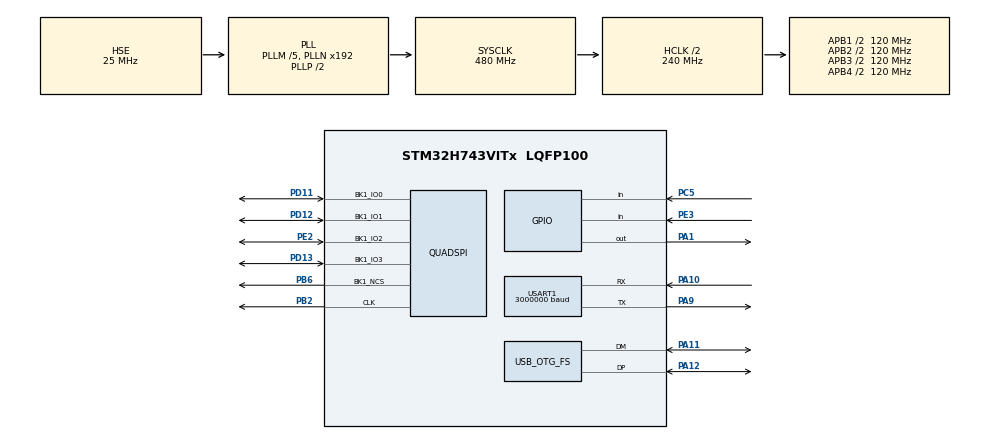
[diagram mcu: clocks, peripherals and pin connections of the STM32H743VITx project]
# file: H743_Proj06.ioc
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Mcu.Family=STM32H7
Mcu.Name=STM32H743VITx
Mcu.Package=LQFP100
NVIC.OTG_FS_IRQn=true\:0\:0\:false\:false\:true\:false\:true
NVIC.PriorityGroup=NVIC_PRIORITYGROUP_4
NVIC.TIM8_UP_TIM13_IRQn=true\:0\:0\:false\:false\:true\:false\:true
NVIC.TimeBase=TIM8_UP_TIM13_IRQn
NVIC.TimeBaseIP=TIM13
PA1.GPIO_PuPd=GPIO_PULLUP
PA1.PinState=GPIO_PIN_SET
PA1.Signal=GPIO_Output
PA10.GPIO_Speed=GPIO_SPEED_FREQ_MEDIUM
PA10.Mode=Asynchronous
PA10.Signal=USART1_RX
PA11.GPIO_Speed=GPIO_SPEED_FREQ_HIGH
PA11.Mode=Device_Only
PA11.Signal=USB_OTG_FS_DM
PA12.GPIO_Speed=GPIO_SPEED_FREQ_HIGH
PA12.Mode=Device_Only
PA12.Signal=USB_OTG_FS_DP
PA13\ (JTMS/SWDIO).Mode=Serial_Wire
PA13\ (JTMS/SWDIO).Signal=DEBUG_JTMS-SWDIO
PA14\ (JTCK/SWCLK).Mode=Serial_Wire
PA14\ (JTCK/SWCLK).Signal=DEBUG_JTCK-SWCLK
PA9.GPIO_Speed=GPIO_SPEED_FREQ_MEDIUM
PA9.Mode=Asynchronous
PA9.Signal=USART1_TX
PB2.GPIO_PuPd=GPIO_PULLDOWN
PB2.GPIO_Speed=GPIO_SPEED_FREQ_HIGH
PB2.Mode=Single Bank 1
PB2.Signal=QUADSPI_CLK
PB6.GPIO_FM6=__NULL
PB6.GPIO_PuPd=GPIO_PULLUP
PB6.GPIO_Speed=GPIO_SPEED_FREQ_HIGH
PB6.Mode=Single Bank 1
PB6.Signal=QUADSPI_BK1_NCS
PC14-OSC32_IN\ (OSC32_IN).Mode=LSE-External-Oscillator
PC14-OSC32_IN\ (OSC32_IN).Signal=RCC_OSC32_IN
PC15-OSC32_OUT\ (OSC32_OUT).Mode=LSE-External-Oscillator
PC15-OSC32_OUT\ (OSC32_OUT).Signal=RCC_OSC32_OUT
PC5.GPIO_PuPd=GPIO_PULLUP
PC5.Signal=GPIO_Input
PD11.GPIO_Speed=GPIO_SPEED_FREQ_HIGH
PD11.Mode=Single Bank 1
PD11.Signal=QUADSPI_BK1_IO0
PD12.GPIO_Speed=GPIO_SPEED_FREQ_HIGH
PD12.Mode=Single Bank 1
PD12.Signal=QUADSPI_BK1_IO1
PD13.GPIO_Speed=GPIO_SPEED_FREQ_HIGH
PD13.Mode=Single Bank 1
PD13.Signal=QUADSPI_BK1_IO3
PE2.GPIO_Speed=GPIO_SPEED_FREQ_HIGH
PE2.Mode=Single Bank 1
PE2.Signal=QUADSPI_BK1_IO2
PE3.GPIO_PuPd=GPIO_PULLUP
PE3.Signal=GPIO_Input
PH0-OSC_IN\ (PH0).Mode=HSE-External-Oscillator
PH0-OSC_IN\ (PH0).Signal=RCC_OSC_IN
PH1-OSC_OUT\ (PH1).Mode=HSE-External-Oscillator
PH1-OSC_OUT\ (PH1).Signal=RCC_OSC_OUT
ProjectManager.HeapSize=0x200
ProjectManager.StackSize=0x400
ProjectManager.TargetToolchain=STM32CubeIDE
QUADSPI.ClockPrescaler=2
QUADSPI.FifoThreshold=4
QUADSPI.FlashSize=22
QUADSPI.SampleShifting=QSPI_SAMPLE_SHIFTING_HALFCYCLE
RCC.ADCFreq_Value=50390625
RCC.APB1Freq_Value=120000000
RCC.APB2Freq_Value=120000000
RCC.APB3Freq_Value=120000000
RCC.APB4Freq_Value=120000000
RCC.CortexFreq_Value=480000000
RCC.D1PPRE=RCC_APB3_DIV2
RCC.D2PPRE1=RCC_APB1_DIV2
RCC.D2PPRE2=RCC_APB2_DIV2
RCC.D3PPRE=RCC_APB4_DIV2
RCC.DIVM1=5
RCC.DIVM3=5
RCC.DIVN1=192
RCC.DIVN3=192
RCC.DIVQ3=20
RCC.HCLKFreq_Value=240000000
RCC.HPRE=RCC_HCLK_DIV2
RCC.RTCClockSelection=RCC_RTCCLKSOURCE_LSE
RCC.SYSCLKFreq_VALUE=480000000
RCC.SYSCLKSource=RCC_SYSCLKSOURCE_PLLCLK
RCC.USBCLockSelection=RCC_USBCLKSOURCE_PLL3
RCC.USBFreq_Value=48000000
USART1.BaudRate=3000000
USART1.VirtualMode-Asynchronous=VM_ASYNC
USB_DEVICE.CLASS_NAME_FS=DFU
USB_DEVICE.USBD_DFU_APP_DEFAULT_ADD-DFU_FS=0x08020000
USB_DEVICE.USBD_DFU_MEDIA-DFU_FS=@Internal Flash   /0x08000000/01*128Ka,15*128Kg
USB_DEVICE.VirtualMode-DFU_FS=Dfu
USB_DEVICE.VirtualModeFS=Dfu_FS
USB_OTG_FS.VirtualMode=Device_Only
VP_RTC_VS_RTC_Activate.Mode=RTC_Enabled
VP_SYS_VS_tim13.Mode=TIM13
VP_USB_DEVICE_VS_USB_DEVICE_DFU_FS.Mode=DFU_FS
board=custom

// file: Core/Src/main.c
/* USER CODE BEGIN Header */
/**
  ******************************************************************************
  * @file           : main.c
  * @brief          : Main program body
  ******************************************************************************
  * @attention
  *
  * <h2><center>&copy; Copyright (c) 2020 STMicroelectronics.
  * All rights reserved.</center></h2>
  *
  * This software component is licensed by ST under BSD 3-Clause license,
  * the "License"; You may not use this file except in compliance with the
  * License. You may obtain a copy of the License at:
  *                        opensource.org/licenses/BSD-3-Clause
  *
  ******************************************************************************
  */
/*
 * main.c
 *
 * Host program for DFU programming with DfuSe Demo program from ST.
 *
 *  Created on: Jan 21, 2020
 *  Template generated by STM32CubeMX
 *  Author of USER CODE: affe00
------------------------------------------------------------------------------
 BSD 3-Clause License

Copyright (c) 2020, affe00
All rights reserved.

Redistribution and use in source and binary forms, with or without
modification, are permitted provided that the following conditions are met:

1. Redistributions of source code must retain the above copyright notice, this
   list of conditions and the following disclaimer.

2. Redistributions in binary form must reproduce the above copyright notice,
   this list of conditions and the following disclaimer in the documentation
   and/or other materials provided with the distribution.

3. Neither the name of the copyright holder nor the names of its
   contributors may be used to endorse or promote products derived from
   this software without specific prior written permission.

THIS SOFTWARE IS PROVIDED BY THE COPYRIGHT HOLDERS AND CONTRIBUTORS "AS IS"
AND ANY EXPRESS OR IMPLIED WARRANTIES, INCLUDING, BUT NOT LIMITED TO, THE
IMPLIED WARRANTIES OF MERCHANTABILITY AND FITNESS FOR A PARTICULAR PURPOSE ARE
DISCLAIMED. IN NO EVENT SHALL THE COPYRIGHT HOLDER OR CONTRIBUTORS BE LIABLE
FOR ANY DIRECT, INDIRECT, INCIDENTAL, SPECIAL, EXEMPLARY, OR CONSEQUENTIAL
DAMAGES (INCLUDING, BUT NOT LIMITED TO, PROCUREMENT OF SUBSTITUTE GOODS OR
SERVICES; LOSS OF USE, DATA, OR PROFITS; OR BUSINESS INTERRUPTION) HOWEVER
CAUSED AND ON ANY THEORY OF LIABILITY, WHETHER IN CONTRACT, STRICT LIABILITY,
OR TORT (INCLUDING NEGLIGENCE OR OTHERWISE) ARISING IN ANY WAY OUT OF THE USE
OF THIS SOFTWARE, EVEN IF ADVISED OF THE POSSIBILITY OF SUCH DAMAGE.
------------------------------------------------------------------------------
 */

/* USER CODE END Header */

#include "main.h"
#include "usb_device.h"

/* USER CODE BEGIN Includes */
#include <string.h>
#include "w25qxx.h"
/* USER CODE END Includes */

QSPI_HandleTypeDef hqspi;

RTC_HandleTypeDef hrtc;

UART_HandleTypeDef huart1;

/* USER CODE BEGIN PV */
typedef  void (*pFunction)(void);
pFunction JumpToApplication;
uint32_t JumpAddress;

char sOutput[160];
char sErrorHandlerMsg[160];
/* USER CODE END PV */

void SystemClock_Config(void);
static void MX_GPIO_Init(void);
static void MX_RTC_Init(void);
static void MX_USART1_UART_Init(void);
static void MX_QUADSPI_Init(void);

int main(void)
{
  /* USER CODE BEGIN 1 */
	sErrorHandlerMsg[0]='\0';
	uint16_t uRetVal;
  /* USER CODE END 1 */

  /* MCU Configuration--------------------------------------------------------*/

  /* Reset of all peripherals, Initializes the Flash interface and the Systick. */
  HAL_Init();

  /* Configure the system clock */
  SystemClock_Config();

  /* Initialize all configured peripherals */
  MX_GPIO_Init();
  MX_RTC_Init();
  MX_USART1_UART_Init();
  MX_QUADSPI_Init();
  /* USER CODE BEGIN 2 */

  //HAL_GPIO_ReadPin(GPIOC, GPIO_PIN_5);
  HAL_Delay(100);
  snprintf(sOutput,159,"\r\n[H743_Proj06]: Start w/o MemMap.\r\n");
  HAL_UART_Transmit(&huart1, (uint8_t*)sOutput,strlen(sOutput), 0xFFFF);
  HAL_Delay(2);
  /* Check if the KEY Button is pressed */
  if (HAL_GPIO_ReadPin(GPIOC, GPIO_PIN_5) == GPIO_PIN_SET){
	snprintf(sOutput,159,"[H743_Proj06]: pin C5(K2) set.\r\n");
	HAL_UART_Transmit(&huart1, (uint8_t*)sOutput,strlen(sOutput), 0xFFFF);
	HAL_Delay(2);

	uRetVal=W25Qxx_MemMap();
	if(uRetVal!=0){
		snprintf(sOutput,159,"[H743_Proj06]: W25Qxx_MemMap() failed! uRetVal=%04X.\r\n",uRetVal);
		HAL_UART_Transmit(&huart1, (uint8_t*)sOutput,strlen(sOutput), 0xFFFF);
		HAL_Delay(2);
	}
	snprintf(sOutput,159,"[H743_Proj06]: *QSPI_BASE=%08lX.\r\n",(*(__IO uint32_t *) QSPI_BASE));
	HAL_UART_Transmit(&huart1, (uint8_t*)sOutput,strlen(sOutput), 0xFFFF);
	HAL_Delay(2);

	/*
	Execution from offset address in internal flash: USBD_DFU_APP_DEFAULT_ADD
	Execution from QUADSPI flash: QSPI_BASE
	*/

	/* Test if user code is programmed starting from USBD_DFU_APP_DEFAULT_ADD
	 * address */

	snprintf(sOutput,159,"[H743_Proj06]: *USBD_DFU_APP_DEFAULT_ADD=%08lX.\r\n",(*(__IO uint32_t *) USBD_DFU_APP_DEFAULT_ADD));
	HAL_UART_Transmit(&huart1, (uint8_t*)sOutput,strlen(sOutput), 0xFFFF);
	HAL_Delay(2);

	if (((*(__IO uint32_t *) QSPI_BASE) & 0x2FF70000) == 0x24000000) {
		snprintf(sOutput,159,"[H743_Proj06]: XIP code found. Will execute.\r\n");
		HAL_UART_Transmit(&huart1, (uint8_t*)sOutput,strlen(sOutput), 0xFFFF);
		HAL_Delay(2);

		/* Jump to user application */
		JumpAddress = *(__IO uint32_t *) (QSPI_BASE + 4);
		JumpToApplication = (pFunction) JumpAddress;

		snprintf(sOutput,159,"[H743_Proj06]: JumpAddress=%08lX.\r\n",JumpAddress);
		HAL_UART_Transmit(&huart1, (uint8_t*)sOutput,strlen(sOutput), 0xFFFF);
		HAL_Delay(2);

		/* Initialize user application's Stack Pointer */
		__set_MSP(*(__IO uint32_t *) QSPI_BASE);
		JumpToApplication();
	}else{
		snprintf(sOutput,159,"[H743_Proj06]: XIP code not found!\r\n");
		HAL_UART_Transmit(&huart1, (uint8_t*)sOutput,strlen(sOutput), 0xFFFF);
		HAL_Delay(2);
	}
  }
  snprintf(sOutput,159,"[H743_Proj06]: Will enter DFU mode.\r\n");
  HAL_UART_Transmit(&huart1, (uint8_t*)sOutput,strlen(sOutput), 0xFFFF);
  HAL_Delay(2);

  /*
  uRetVal=W25Qxx_Init();
  snprintf(sOutput,159,"[H743_Proj06]: W25Qxx_Init()=%04X\r\n",uRetVal);
  HAL_UART_Transmit(&huart1, (uint8_t*)sOutput,strlen(sOutput), 0xFFFF);
  HAL_Delay(2);
  */

  MX_USB_DEVICE_Init();
  /* USER CODE END 2 */

  /* Infinite loop */
  while (1)
  {

  }
}

void SystemClock_Config(void)
{
  RCC_OscInitTypeDef RCC_OscInitStruct = {0};
  RCC_ClkInitTypeDef RCC_ClkInitStruct = {0};
  RCC_PeriphCLKInitTypeDef PeriphClkInitStruct = {0};

  /** Supply configuration update enable
  */
  HAL_PWREx_ConfigSupply(PWR_LDO_SUPPLY);
  /** Configure the main internal regulator output voltage
  */
  __HAL_PWR_VOLTAGESCALING_CONFIG(PWR_REGULATOR_VOLTAGE_SCALE0);

  while(!__HAL_PWR_GET_FLAG(PWR_FLAG_VOSRDY)) {}
  /** Configure LSE Drive Capability
  */
  HAL_PWR_EnableBkUpAccess();
  __HAL_RCC_LSEDRIVE_CONFIG(RCC_LSEDRIVE_LOW);
  /** Macro to configure the PLL clock source
  */
  __HAL_RCC_PLL_PLLSOURCE_CONFIG(RCC_PLLSOURCE_HSE);
  /** Initializes the CPU, AHB and APB busses clocks
  */
  RCC_OscInitStruct.OscillatorType = RCC_OSCILLATORTYPE_HSE|RCC_OSCILLATORTYPE_LSE;
  RCC_OscInitStruct.HSEState = RCC_HSE_ON;
  RCC_OscInitStruct.LSEState = RCC_LSE_ON;
  RCC_OscInitStruct.PLL.PLLState = RCC_PLL_ON;
  RCC_OscInitStruct.PLL.PLLSource = RCC_PLLSOURCE_HSE;
  RCC_OscInitStruct.PLL.PLLM = 5;
  RCC_OscInitStruct.PLL.PLLN = 192;
  RCC_OscInitStruct.PLL.PLLP = 2;
  RCC_OscInitStruct.PLL.PLLQ = 2;
  RCC_OscInitStruct.PLL.PLLR = 2;
  RCC_OscInitStruct.PLL.PLLRGE = RCC_PLL1VCIRANGE_2;
  RCC_OscInitStruct.PLL.PLLVCOSEL = RCC_PLL1VCOWIDE;
  RCC_OscInitStruct.PLL.PLLFRACN = 0;
  if (HAL_RCC_OscConfig(&RCC_OscInitStruct) != HAL_OK)
  {
    Error_Handler();
  }
  /** Initializes the CPU, AHB and APB busses clocks
  */
  RCC_ClkInitStruct.ClockType = RCC_CLOCKTYPE_HCLK|RCC_CLOCKTYPE_SYSCLK
                              |RCC_CLOCKTYPE_PCLK1|RCC_CLOCKTYPE_PCLK2
                              |RCC_CLOCKTYPE_D3PCLK1|RCC_CLOCKTYPE_D1PCLK1;
  RCC_ClkInitStruct.SYSCLKSource = RCC_SYSCLKSOURCE_PLLCLK;
  RCC_ClkInitStruct.SYSCLKDivider = RCC_SYSCLK_DIV1;
  RCC_ClkInitStruct.AHBCLKDivider = RCC_HCLK_DIV2;
  RCC_ClkInitStruct.APB3CLKDivider = RCC_APB3_DIV2;
  RCC_ClkInitStruct.APB1CLKDivider = RCC_APB1_DIV2;
  RCC_ClkInitStruct.APB2CLKDivider = RCC_APB2_DIV2;
  RCC_ClkInitStruct.APB4CLKDivider = RCC_APB4_DIV2;

  if (HAL_RCC_ClockConfig(&RCC_ClkInitStruct, FLASH_LATENCY_4) != HAL_OK)
  {
    Error_Handler();
  }
  PeriphClkInitStruct.PeriphClockSelection = RCC_PERIPHCLK_RTC|RCC_PERIPHCLK_USART1
                              |RCC_PERIPHCLK_USB|RCC_PERIPHCLK_QSPI;
  PeriphClkInitStruct.PLL3.PLL3M = 5;
  PeriphClkInitStruct.PLL3.PLL3N = 192;
  PeriphClkInitStruct.PLL3.PLL3P = 2;
  PeriphClkInitStruct.PLL3.PLL3Q = 20;
  PeriphClkInitStruct.PLL3.PLL3R = 2;
  PeriphClkInitStruct.PLL3.PLL3RGE = RCC_PLL3VCIRANGE_2;
  PeriphClkInitStruct.PLL3.PLL3VCOSEL = RCC_PLL3VCOWIDE;
  PeriphClkInitStruct.PLL3.PLL3FRACN = 0;
  PeriphClkInitStruct.QspiClockSelection = RCC_QSPICLKSOURCE_D1HCLK;
  PeriphClkInitStruct.Usart16ClockSelection = RCC_USART16CLKSOURCE_D2PCLK2;
  PeriphClkInitStruct.UsbClockSelection = RCC_USBCLKSOURCE_PLL3;
  PeriphClkInitStruct.RTCClockSelection = RCC_RTCCLKSOURCE_LSE;
  if (HAL_RCCEx_PeriphCLKConfig(&PeriphClkInitStruct) != HAL_OK)
  {
    Error_Handler();
  }
  /** Enable USB Voltage detector
  */
  HAL_PWREx_EnableUSBVoltageDetector();
}

static void MX_QUADSPI_Init(void)
{

  /* QUADSPI parameter configuration*/
  hqspi.Instance = QUADSPI;
  hqspi.Init.ClockPrescaler = 2;
  hqspi.Init.FifoThreshold = 4;
  hqspi.Init.SampleShifting = QSPI_SAMPLE_SHIFTING_HALFCYCLE;
  hqspi.Init.FlashSize = 22;
  hqspi.Init.ChipSelectHighTime = QSPI_CS_HIGH_TIME_1_CYCLE;
  hqspi.Init.ClockMode = QSPI_CLOCK_MODE_0;
  hqspi.Init.FlashID = QSPI_FLASH_ID_1;
  hqspi.Init.DualFlash = QSPI_DUALFLASH_DISABLE;
  if (HAL_QSPI_Init(&hqspi) != HAL_OK)
  {
    Error_Handler();
  }

}

static void MX_RTC_Init(void)
{

  /** Initialize RTC Only
  */
  hrtc.Instance = RTC;
  hrtc.Init.HourFormat = RTC_HOURFORMAT_24;
  hrtc.Init.AsynchPrediv = 127;
  hrtc.Init.SynchPrediv = 255;
  hrtc.Init.OutPut = RTC_OUTPUT_DISABLE;
  hrtc.Init.OutPutPolarity = RTC_OUTPUT_POLARITY_HIGH;
  hrtc.Init.OutPutType = RTC_OUTPUT_TYPE_OPENDRAIN;
  hrtc.Init.OutPutRemap = RTC_OUTPUT_REMAP_NONE;
  if (HAL_RTC_Init(&hrtc) != HAL_OK)
  {
    Error_Handler();
  }

}

static void MX_USART1_UART_Init(void)
{

  huart1.Instance = USART1;
  huart1.Init.BaudRate = 3000000;
  huart1.Init.WordLength = UART_WORDLENGTH_8B;
  huart1.Init.StopBits = UART_STOPBITS_1;
  huart1.Init.Parity = UART_PARITY_NONE;
  huart1.Init.Mode = UART_MODE_TX_RX;
  huart1.Init.HwFlowCtl = UART_HWCONTROL_NONE;
  huart1.Init.OverSampling = UART_OVERSAMPLING_16;
  huart1.Init.OneBitSampling = UART_ONE_BIT_SAMPLE_DISABLE;
  huart1.Init.ClockPrescaler = UART_PRESCALER_DIV1;
  huart1.AdvancedInit.AdvFeatureInit = UART_ADVFEATURE_NO_INIT;
  if (HAL_UART_Init(&huart1) != HAL_OK)
  {
    Error_Handler();
  }
  if (HAL_UARTEx_SetTxFifoThreshold(&huart1, UART_TXFIFO_THRESHOLD_1_8) != HAL_OK)
  {
    Error_Handler();
  }
  if (HAL_UARTEx_SetRxFifoThreshold(&huart1, UART_RXFIFO_THRESHOLD_1_8) != HAL_OK)
  {
    Error_Handler();
  }
  if (HAL_UARTEx_DisableFifoMode(&huart1) != HAL_OK)
  {
    Error_Handler();
  }

}

static void MX_GPIO_Init(void)
{
  GPIO_InitTypeDef GPIO_InitStruct = {0};

  /* GPIO Ports Clock Enable */
  __HAL_RCC_GPIOE_CLK_ENABLE();
  __HAL_RCC_GPIOC_CLK_ENABLE();
  __HAL_RCC_GPIOH_CLK_ENABLE();
  __HAL_RCC_GPIOA_CLK_ENABLE();
  __HAL_RCC_GPIOB_CLK_ENABLE();
  __HAL_RCC_GPIOD_CLK_ENABLE();

  /*Configure GPIO pin Output Level */
  HAL_GPIO_WritePin(GPIOA, GPIO_PIN_1, GPIO_PIN_SET);

  /*Configure GPIO pin : PE3 */
  GPIO_InitStruct.Pin = GPIO_PIN_3;
  GPIO_InitStruct.Mode = GPIO_MODE_INPUT;
  GPIO_InitStruct.Pull = GPIO_PULLUP;
  HAL_GPIO_Init(GPIOE, &GPIO_InitStruct);

  /*Configure GPIO pin : PA1 */
  GPIO_InitStruct.Pin = GPIO_PIN_1;
  GPIO_InitStruct.Mode = GPIO_MODE_OUTPUT_PP;
  GPIO_InitStruct.Pull = GPIO_PULLUP;
  GPIO_InitStruct.Speed = GPIO_SPEED_FREQ_LOW;
  HAL_GPIO_Init(GPIOA, &GPIO_InitStruct);

  /*Configure GPIO pin : PC5 */
  GPIO_InitStruct.Pin = GPIO_PIN_5;
  GPIO_InitStruct.Mode = GPIO_MODE_INPUT;
  GPIO_InitStruct.Pull = GPIO_PULLUP;
  HAL_GPIO_Init(GPIOC, &GPIO_InitStruct);

}

void HAL_TIM_PeriodElapsedCallback(TIM_HandleTypeDef *htim)
{
  if (htim->Instance == TIM13) {
    HAL_IncTick();
  }
}

void Error_Handler(void)
{
  /* USER CODE BEGIN Error_Handler_Debug */
  /* User can add his own implementation to report the HAL error return state */
	if (strlen(sErrorHandlerMsg)>0){
	  snprintf(sOutput,159,"[Error_Handler]: %s.\r\n",sErrorHandlerMsg);
	  HAL_UART_Transmit(&huart1, (uint8_t*)sOutput,strlen(sOutput), 0xFFFF);
	  HAL_Delay(2);
	  sErrorHandlerMsg[0]='\0';
	}
  /* USER CODE END Error_Handler_Debug */
}

/************************ (C) COPYRIGHT STMicroelectronics *****END OF FILE****/
